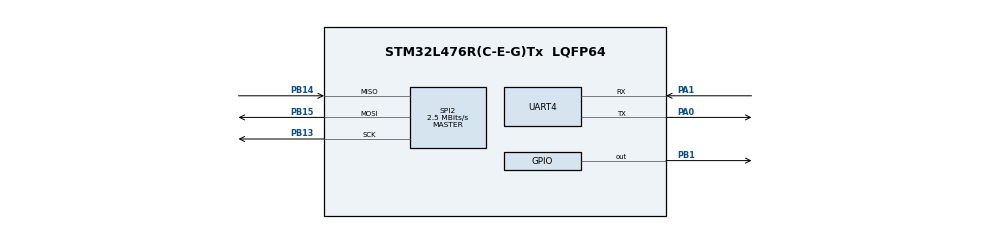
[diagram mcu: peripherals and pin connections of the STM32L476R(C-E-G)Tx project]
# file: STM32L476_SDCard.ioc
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Mcu.Family=STM32L4
Mcu.Name=STM32L476R(C-E-G)Tx
Mcu.Package=LQFP64
NVIC.PriorityGroup=NVIC_PRIORITYGROUP_4
PA0.Mode=Asynchronous
PA0.Signal=UART4_TX
PA1.Mode=Asynchronous
PA1.Signal=UART4_RX
PB1.GPIO_PuPd=GPIO_NOPULL
PB1.GPIO_Speed=GPIO_SPEED_FREQ_VERY_HIGH
PB1.PinState=GPIO_PIN_SET
PB1.Signal=GPIO_Output
PB13.GPIO_PuPd=GPIO_NOPULL
PB13.Mode=Full_Duplex_Master
PB13.Signal=SPI2_SCK
PB14.GPIO_PuPd=GPIO_NOPULL
PB14.Mode=Full_Duplex_Master
PB14.Signal=SPI2_MISO
PB15.GPIO_PuPd=GPIO_NOPULL
PB15.Mode=Full_Duplex_Master
PB15.Signal=SPI2_MOSI
PC14-OSC32_IN\ (PC14).Mode=LSE-External-Oscillator
PC14-OSC32_IN\ (PC14).Signal=RCC_OSC32_IN
PC15-OSC32_OUT\ (PC15).Mode=LSE-External-Oscillator
PC15-OSC32_OUT\ (PC15).Signal=RCC_OSC32_OUT
PH0-OSC_IN\ (PH0).Signal=RCC_OSC_IN
PH1-OSC_OUT\ (PH1).Signal=RCC_OSC_OUT
ProjectManager.HeapSize=0x200
ProjectManager.StackSize=0x400
ProjectManager.TargetToolchain=MDK-ARM V5.32
RCC.ADCFreq_Value=64000000
RCC.AHBFreq_Value=80000000
RCC.APB1Freq_Value=80000000
RCC.APB1TimFreq_Value=80000000
RCC.APB2Freq_Value=80000000
RCC.APB2TimFreq_Value=80000000
RCC.CortexFreq_Value=80000000
RCC.HCLKFreq_Value=80000000
RCC.HSE_VALUE=8000000
RCC.HSI_VALUE=16000000
RCC.MSI_VALUE=4000000
RCC.PLLN=10
RCC.PLLSourceVirtual=RCC_PLLSOURCE_HSI
RCC.PREFETCH_ENABLE=1
RCC.SYSCLKFreq_VALUE=80000000
RCC.SYSCLKSource=RCC_SYSCLKSOURCE_PLLCLK
RCC.USBFreq_Value=64000000
RCC.VCOOutputFreq_Value=160000000
SPI2.BaudRatePrescaler=SPI_BAUDRATEPRESCALER_32
SPI2.CalculateBaudRate=2.5 MBits/s
SPI2.DataSize=SPI_DATASIZE_8BIT
SPI2.Direction=SPI_DIRECTION_2LINES
SPI2.Mode=SPI_MODE_MASTER
SPI2.VirtualType=VM_MASTER
TIM2.Prescaler=79
VP_FATFS_VS_Generic.Mode=User_defined
VP_TIM2_VS_ClockSourceINT.Mode=Internal
board=NUCLEO-L476RG

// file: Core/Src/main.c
/* USER CODE BEGIN Header */
/**
  ******************************************************************************
  * @file           : main.c
  * @brief          : Main program body
  ******************************************************************************
  * @attention
  *
  * Copyright (c) 2024 STMicroelectronics.
  * All rights reserved.
  *
  * This software is licensed under terms that can be found in the LICENSE file
  * in the root directory of this software component.
  * If no LICENSE file comes with this software, it is provided AS-IS.
  *
  ******************************************************************************
  */
/* USER CODE END Header */
#include "main.h"
#include "fatfs.h"

/* USER CODE BEGIN Includes */
#include <stdbool.h>
#include <stdio.h>
#include <string.h>
#include <stdarg.h>
/* USER CODE END Includes */

/* USER CODE BEGIN PV */
//FATFS fs;
//FATFS *pfs;
//FIL fil;
//FRESULT fres;
//DWORD fre_clust;
//uint32_t totalSpace, freeSpace;
//char buffer[100];
/* USER CODE END PV */

void SystemClock_Config(void);
static void MX_GPIO_Init(void);
static void MX_SPI2_Init(void);
static void MX_UART4_Init(void);
static void MX_TIM2_Init(void);
/* USER CODE BEGIN PFP */
void myprintf(const char *fmt, ...);
void process_SD_card(void);
/* USER CODE END PFP */

int main(void)
{

  /* MCU Configuration--------------------------------------------------------*/

  /* Reset of all peripherals, Initializes the Flash interface and the Systick. */
  HAL_Init();

  /* Configure the system clock */
  SystemClock_Config();

  /* Initialize all configured peripherals */
  MX_GPIO_Init();
  MX_SPI2_Init();
  MX_UART4_Init();
  MX_FATFS_Init();
  MX_TIM2_Init();
  /* USER CODE BEGIN 2 */
	//process_SD_card();

	myprintf("\r\n~ SD card demo ~\r\n\r\n");

	delay_ms(1000); //a short delay is important to let the SD card settle

	//some variables for FatFs
  FATFS FatFs; 	//Fatfs handle
  FIL fil; 		//File handle
  FRESULT fres; //Result after operations

	//Open the file system
  fres = f_mount(&FatFs, "/", 1); //1=mount now
  if (fres != FR_OK)
	{
		myprintf("f_mount error (%i)\r\n", fres);
		while(1);
  }
	delay_ms(1);
	//Let's get some statistics from the SD card
  DWORD free_clusters, free_sectors, total_sectors;

	FATFS* getFreeFs;

	fres = f_getfree("", &free_clusters, &getFreeFs);
  if (fres != FR_OK)
	{
		myprintf("f_getfree error (%i)\r\n", fres);
		while(1);
  }

  //Formula comes from ChaN's documentation
  total_sectors = (getFreeFs->n_fatent - 2) * getFreeFs->csize;
  free_sectors = free_clusters * getFreeFs->csize;

	myprintf("SD card stats:\r\n%10lu KiB total drive space.\r\n%10lu KiB available.\r\n", total_sectors / 2, free_sectors / 2);
	delay_ms(1);
	//Now let's try and write a file "test.txt"
  fres = f_open(&fil, "test1.txt", 	FA_CREATE_ALWAYS | FA_WRITE);
  if(fres == FR_OK)
	{
		myprintf("I was able to open 'test.txt' for writing\r\n");
  }
	else
	{
		myprintf("f_open error (%i)\r\n", fres);
  }
	delay_ms(1);
	//Read 30 bytes from "test.txt" on the SD card
  BYTE readBuf[30];

  //Copy in a string
  strncpy((char*)readBuf, "a new file is made!", 19);
  UINT bytesWrote;
  fres = f_write(&fil, readBuf, 19, &bytesWrote);
	//fres = f_puts("qwerqwer\n\n", &fil);
  if(fres == FR_OK)
	{
		myprintf("Wrote %i bytes to 'test.txt'!\r\n", bytesWrote);
  }
	else
	{
		myprintf("f_write error (%i)\r\n", fres);
  }
	delay_ms(1);
	fres = f_sync(&fil);
	if (fres != FR_OK)
	{
    myprintf("f_sync error (%i)\r\n", fres);
		while(1);
	}
	delay_ms(1);
  //Be a tidy kiwi - don't forget to close your file!
  fres = f_close(&fil);
	if (fres != FR_OK)
	{
    myprintf("f_close error (%i)\r\n", fres);
		while(1);
	}
	/*
	fres = f_mount(NULL, "", 0);
	if (fres != FR_OK)
	{
    myprintf("f_mount error: %d\n", fres);
	}
	*/
	delay_ms(100);

	fres = f_mount(&FatFs, "/", 1);
	if (fres != FR_OK)
	{
    myprintf("f_mount error: %d\n", fres);
	}
	delay_ms(1);

	//Now let's try to open file "test.txt"
  fres = f_open(&fil, "test1.txt", FA_READ);
  if (fres != FR_OK)
	{
		myprintf("f_open error (%i)\r\n", fres);
		while(1);
  }
  myprintf("I was able to open 'write.txt' for reading!\r\n");
	delay_ms(1);
  //We can either use f_read OR f_gets to get data out of files
  //f_gets is a wrapper on f_read that does some string formatting for us
  TCHAR* rres = f_gets((TCHAR*)readBuf, 30, &fil);
  if(rres != 0)
	{
		myprintf("Read string from 'write.txt' contents: %s\r\n", readBuf);
  }
	else
	{
		myprintf("f_gets error (%i)\r\n", rres);
  }
	delay_ms(1);
	fres = f_sync(&fil);
	if (fres != FR_OK)
	{
    myprintf("f_sync error (%i)\r\n", fres);
		while(1);
	}
	delay_ms(1);
  //Be a tidy kiwi - don't forget to close your file!
  fres = f_close(&fil);
	if (fres != FR_OK)
	{
    myprintf("f_close error (%i)\r\n", fres);
		while(1);
	}
	delay_ms(1);
  //We're done, so de-mount the drive
  fres = f_mount(NULL, "/", 0);
	if (fres != FR_OK)
	{
    myprintf("unmount with f_mount error (%i)\r\n", fres);
		while(1);
	}

  /* USER CODE END 2 */

  /* Infinite loop */
  while (1)
  {

  }
}

void SystemClock_Config(void)
{
  LL_FLASH_SetLatency(LL_FLASH_LATENCY_4);
  while(LL_FLASH_GetLatency()!= LL_FLASH_LATENCY_4)
  {
  }
  LL_PWR_SetRegulVoltageScaling(LL_PWR_REGU_VOLTAGE_SCALE1);
  while (LL_PWR_IsActiveFlag_VOS() != 0)
  {
  }
  LL_RCC_HSI_Enable();

   /* Wait till HSI is ready */
  while(LL_RCC_HSI_IsReady() != 1)
  {

  }
  LL_RCC_HSI_SetCalibTrimming(16);
  LL_RCC_PLL_ConfigDomain_SYS(LL_RCC_PLLSOURCE_HSI, LL_RCC_PLLM_DIV_1, 10, LL_RCC_PLLR_DIV_2);
  LL_RCC_PLL_EnableDomain_SYS();
  LL_RCC_PLL_Enable();

   /* Wait till PLL is ready */
  while(LL_RCC_PLL_IsReady() != 1)
  {

  }
  LL_RCC_SetSysClkSource(LL_RCC_SYS_CLKSOURCE_PLL);

   /* Wait till System clock is ready */
  while(LL_RCC_GetSysClkSource() != LL_RCC_SYS_CLKSOURCE_STATUS_PLL)
  {

  }
  LL_RCC_SetAHBPrescaler(LL_RCC_SYSCLK_DIV_1);
  LL_RCC_SetAPB1Prescaler(LL_RCC_APB1_DIV_1);
  LL_RCC_SetAPB2Prescaler(LL_RCC_APB2_DIV_1);
  LL_SetSystemCoreClock(80000000);

   /* Update the time base */
  if (HAL_InitTick (TICK_INT_PRIORITY) != HAL_OK)
  {
    Error_Handler();
  }
}

static void MX_SPI2_Init(void)
{

  LL_SPI_InitTypeDef SPI_InitStruct = {0};

  LL_GPIO_InitTypeDef GPIO_InitStruct = {0};

  /* Peripheral clock enable */
  LL_APB1_GRP1_EnableClock(LL_APB1_GRP1_PERIPH_SPI2);

  LL_AHB2_GRP1_EnableClock(LL_AHB2_GRP1_PERIPH_GPIOB);
  /**SPI2 GPIO Configuration
  PB13   ------> SPI2_SCK
  PB14   ------> SPI2_MISO
  PB15   ------> SPI2_MOSI
  */
  GPIO_InitStruct.Pin = LL_GPIO_PIN_13|LL_GPIO_PIN_14|LL_GPIO_PIN_15;
  GPIO_InitStruct.Mode = LL_GPIO_MODE_ALTERNATE;
  GPIO_InitStruct.Speed = LL_GPIO_SPEED_FREQ_VERY_HIGH;
  GPIO_InitStruct.OutputType = LL_GPIO_OUTPUT_PUSHPULL;
  GPIO_InitStruct.Pull = LL_GPIO_PULL_NO;
  GPIO_InitStruct.Alternate = LL_GPIO_AF_5;
  LL_GPIO_Init(GPIOB, &GPIO_InitStruct);

  /* SPI2 parameter configuration*/
  SPI_InitStruct.TransferDirection = LL_SPI_FULL_DUPLEX;
  SPI_InitStruct.Mode = LL_SPI_MODE_MASTER;
  SPI_InitStruct.DataWidth = LL_SPI_DATAWIDTH_8BIT;
  SPI_InitStruct.ClockPolarity = LL_SPI_POLARITY_LOW;
  SPI_InitStruct.ClockPhase = LL_SPI_PHASE_1EDGE;
  SPI_InitStruct.NSS = LL_SPI_NSS_SOFT;
  SPI_InitStruct.BaudRate = LL_SPI_BAUDRATEPRESCALER_DIV16;
  SPI_InitStruct.BitOrder = LL_SPI_MSB_FIRST;
  SPI_InitStruct.CRCCalculation = LL_SPI_CRCCALCULATION_DISABLE;
  SPI_InitStruct.CRCPoly = 10;
  LL_SPI_Init(SPI2, &SPI_InitStruct);
  LL_SPI_SetStandard(SPI2, LL_SPI_PROTOCOL_MOTOROLA);
  LL_SPI_EnableNSSPulseMgt(SPI2);
  /* USER CODE BEGIN SPI2_Init 2 */
	LL_SPI_Enable(SPI2);
  /* USER CODE END SPI2_Init 2 */

}

static void MX_TIM2_Init(void)
{

  LL_TIM_InitTypeDef TIM_InitStruct = {0};

  /* Peripheral clock enable */
  LL_APB1_GRP1_EnableClock(LL_APB1_GRP1_PERIPH_TIM2);

  TIM_InitStruct.Prescaler = 79;
  TIM_InitStruct.CounterMode = LL_TIM_COUNTERMODE_UP;
  TIM_InitStruct.Autoreload = 4294967295;
  TIM_InitStruct.ClockDivision = LL_TIM_CLOCKDIVISION_DIV1;
  LL_TIM_Init(TIM2, &TIM_InitStruct);
  LL_TIM_DisableARRPreload(TIM2);
  LL_TIM_SetClockSource(TIM2, LL_TIM_CLOCKSOURCE_INTERNAL);
  LL_TIM_SetTriggerOutput(TIM2, LL_TIM_TRGO_RESET);
  LL_TIM_DisableMasterSlaveMode(TIM2);
  /* USER CODE BEGIN TIM2_Init 2 */
	LL_TIM_EnableCounter(TIM2);
  /* USER CODE END TIM2_Init 2 */

}

static void MX_UART4_Init(void)
{

  LL_USART_InitTypeDef UART_InitStruct = {0};

  LL_GPIO_InitTypeDef GPIO_InitStruct = {0};

  LL_RCC_SetUARTClockSource(LL_RCC_UART4_CLKSOURCE_PCLK1);

  /* Peripheral clock enable */
  LL_APB1_GRP1_EnableClock(LL_APB1_GRP1_PERIPH_UART4);

  LL_AHB2_GRP1_EnableClock(LL_AHB2_GRP1_PERIPH_GPIOA);
  /**UART4 GPIO Configuration
  PA0   ------> UART4_TX
  PA1   ------> UART4_RX
  */
  GPIO_InitStruct.Pin = LL_GPIO_PIN_0|LL_GPIO_PIN_1;
  GPIO_InitStruct.Mode = LL_GPIO_MODE_ALTERNATE;
  GPIO_InitStruct.Speed = LL_GPIO_SPEED_FREQ_VERY_HIGH;
  GPIO_InitStruct.OutputType = LL_GPIO_OUTPUT_PUSHPULL;
  GPIO_InitStruct.Pull = LL_GPIO_PULL_NO;
  GPIO_InitStruct.Alternate = LL_GPIO_AF_8;
  LL_GPIO_Init(GPIOA, &GPIO_InitStruct);

  UART_InitStruct.BaudRate = 115200;
  UART_InitStruct.DataWidth = LL_USART_DATAWIDTH_8B;
  UART_InitStruct.StopBits = LL_USART_STOPBITS_1;
  UART_InitStruct.Parity = LL_USART_PARITY_NONE;
  UART_InitStruct.TransferDirection = LL_USART_DIRECTION_TX_RX;
  UART_InitStruct.HardwareFlowControl = LL_USART_HWCONTROL_NONE;
  UART_InitStruct.OverSampling = LL_USART_OVERSAMPLING_16;
  LL_USART_Init(UART4, &UART_InitStruct);
  LL_USART_ConfigAsyncMode(UART4);
  LL_USART_Enable(UART4);

}

static void MX_GPIO_Init(void)
{
  LL_GPIO_InitTypeDef GPIO_InitStruct = {0};

  /* GPIO Ports Clock Enable */
  LL_AHB2_GRP1_EnableClock(LL_AHB2_GRP1_PERIPH_GPIOC);
  LL_AHB2_GRP1_EnableClock(LL_AHB2_GRP1_PERIPH_GPIOH);
  LL_AHB2_GRP1_EnableClock(LL_AHB2_GRP1_PERIPH_GPIOA);
  LL_AHB2_GRP1_EnableClock(LL_AHB2_GRP1_PERIPH_GPIOB);

  /**/
  LL_GPIO_SetOutputPin(GPIOB, LL_GPIO_PIN_1);

  /**/
  GPIO_InitStruct.Pin = LL_GPIO_PIN_1;
  GPIO_InitStruct.Mode = LL_GPIO_MODE_OUTPUT;
  GPIO_InitStruct.Speed = LL_GPIO_SPEED_FREQ_VERY_HIGH;
  GPIO_InitStruct.OutputType = LL_GPIO_OUTPUT_PUSHPULL;
  GPIO_InitStruct.Pull = LL_GPIO_PULL_NO;
  LL_GPIO_Init(GPIOB, &GPIO_InitStruct);

}

/* USER CODE BEGIN 4 */
void delay_ms(uint32_t timeDelay)
{
    uint32_t startTick = LL_TIM_GetCounter(TIM2);

    while ((LL_TIM_GetCounter(TIM2) - startTick) < (timeDelay * 1000));
}

/* Gui 1 byte du lieu tu Master cho Slave */
void SPI2_TransmitByte(uint8_t data)
{
    // Doi cho den khi TX buffer trong (TXE flag duoc set)
    while (!LL_SPI_IsActiveFlag_TXE(SPI2));

    // Gui 1 byte du lieu
    LL_SPI_TransmitData8(SPI2, data);

    // Doi cho den khi byte duoc truyen xong (BSY flag duoc reset)
    while (LL_SPI_IsActiveFlag_BSY(SPI2));
}

uint8_t SPI2_ReceiveByte(void)
{
    uint8_t receivedDataTemp = 0x00u;

		//LL_GPIO_ResetOutputPin(GPIOA, LL_GPIO_PIN_4);
    // Doi cho den khi co du lieu nhan duoc (RXNE flag duoc set)
    while (!LL_SPI_IsActiveFlag_RXNE(SPI2));

    // Doc du lieu nhan duoc tu SPI
    receivedDataTemp = LL_SPI_ReceiveData8(SPI2);

		while (LL_SPI_IsActiveFlag_BSY(SPI2));
		//LL_GPIO_SetOutputPin(GPIOA, LL_GPIO_PIN_4);
		return receivedDataTemp;
}

uint8_t LL_SPI_TransmitReceive(SPI_TypeDef *SPIx, uint8_t *pTxData, uint8_t *pRxData, uint16_t Size, uint32_t Timeout)
{
    uint32_t tickstart;

    //LL_GPIO_ResetOutputPin(GPIOB, LL_GPIO_PIN_1); // H? CS xu?ng

    for (uint16_t i = 0; i < Size; i++)
    {
        tickstart = LL_TIM_GetCounter(TIM2); // L?y th?i gian hi?n t?i

        // Ch? TXE (TX buffer empty)
        while (!LL_SPI_IsActiveFlag_TXE(SPIx))
        {
            if ((LL_TIM_GetCounter(TIM2) - tickstart) > Timeout)
                return 1; // Timeout
        }

        // G?i d? li?u
        LL_SPI_TransmitData8(SPIx, pTxData[i]);

				tickstart = LL_TIM_GetCounter(TIM2); // L?y l?i th?i gian hi?n t?i

				// Ch? SPI kh?ng b?n (Busy flag)
				while (LL_SPI_IsActiveFlag_BSY(SPIx))
				{
						if ((LL_TIM_GetCounter(TIM2) - tickstart) > Timeout)
								return 1; // Timeout
				}

        tickstart = LL_TIM_GetCounter(TIM2); // L?y l?i th?i gian hi?n t?i

        // Ch? RXNE (RX buffer not empty)
        while (!LL_SPI_IsActiveFlag_RXNE(SPIx))
        {
            if ((LL_TIM_GetCounter(TIM2) - tickstart) > Timeout)
                return 1; // Timeout
        }

        // ??c d? li?u nh?n du?c
        pRxData[i] = LL_SPI_ReceiveData8(SPIx);
    }

    tickstart = LL_TIM_GetCounter(TIM2); // L?y l?i th?i gian hi?n t?i

    // Ch? SPI kh?ng b?n (Busy flag)
    while (LL_SPI_IsActiveFlag_BSY(SPIx))
    {
        if ((LL_TIM_GetCounter(TIM2) - tickstart) > Timeout)
            return 1; // Timeout
    }

    //LL_GPIO_SetOutputPin(GPIOB, LL_GPIO_PIN_1); // N?ng CS l?n

    return 0; // Th?nh c?ng
}

// Send 1 byte through UART
void UART_SendChar(uint8_t ch)
{
    while (!LL_USART_IsActiveFlag_TXE(UART4));
    LL_USART_TransmitData8(UART4, ch);
    while (!LL_USART_IsActiveFlag_TC(UART4));
}

// Receive 1 byte from UART
uint8_t UART_ReceiveChar(void)
{
    while (!LL_USART_IsActiveFlag_RXNE(UART4));
    return LL_USART_ReceiveData8(UART4);
}

// Send a string through UART
void UART_SendString(char *str)
{
    while (*str) {
        UART_SendChar(*str++);
    }
}

// Receive a string from UART (stop when see character '\n')
void UART_ReceiveString(char *buffer, uint8_t maxLength)
{
    uint8_t index = 0;
    char receivedChar;

    do {
        receivedChar = UART_ReceiveChar();
        buffer[index++] = receivedChar;
    } while (receivedChar != '\n' && index < maxLength - 1);

    buffer[index] = '\0';
}

void myprintf(const char *fmt, ...)
{
  static char buffer[256];
  va_list args;
  va_start(args, fmt);
  vsnprintf(buffer, sizeof(buffer), fmt, args);
  va_end(args);

  int len = strlen(buffer);
  //HAL_UART_Transmit(&huart2, (uint8_t*)buffer, len, -1);
	UART_SendString((char *)buffer);

}

void process_SD_card( void )
{
  FATFS       FatFs;                //Fatfs handle
  FIL         fil;                  //File handle
  FRESULT     fres;                 //Result after operations
  char        buf[100];

  do
  {
    //Mount the SD Card
    fres = f_mount(&FatFs, "", 1);    //1=mount now
    if (fres != FR_OK)
    {
      myprintf("No SD Card found : (%i)\r\n", fres);
      break;
    }
    myprintf("SD Card Mounted Successfully!!!\r\n");

    //Read the SD Card Total size and Free Size
    FATFS *pfs;
    DWORD fre_clust;
    uint32_t totalSpace, freeSpace;

    f_getfree("", &fre_clust, &pfs);
    totalSpace = (uint32_t)((pfs->n_fatent - 2) * pfs->csize * 0.5);
    freeSpace = (uint32_t)(fre_clust * pfs->csize * 0.5);

    myprintf("TotalSpace : %lu bytes, FreeSpace = %lu bytes\n", totalSpace, freeSpace);

    //Open the file
    fres = f_open(&fil, "test.txt", FA_WRITE | FA_READ | FA_CREATE_ALWAYS);
    if(fres != FR_OK)
    {
      myprintf("File creation/open Error : (%i)\r\n", fres);
      break;
    }

    myprintf("Writing data!!!\r\n");
    //write the data
    f_puts("Welcome to EmbeTronicX", &fil);

    //close your file
    f_close(&fil);

    //Open the file
    fres = f_open(&fil, "test1.txt", FA_READ);
    if(fres != FR_OK)
    {
      myprintf("File opening Error : (%i)\r\n", fres);
      break;
    }

    //read the data
    f_gets(buf, sizeof(buf), &fil);

    myprintf("Read Data : %s\n", buf);

    //close your file
    f_close(&fil);
    myprintf("Closing File!!!\r\n");
#if 0
    //Delete the file.
    fres = f_unlink(EmbeTronicX.txt);
    if (fres != FR_OK)
    {
      myprintf("Cannot able to delete the file\n");
    }
#endif
  } while( false );

  //We're done, so de-mount the drive
  f_mount(NULL, "", 0);
  myprintf("SD Card Unmounted Successfully!!!\r\n");
}

/**
 * @brief  This function is executed in case of error occurrence.
 * @param  file: The file name as string.
 * @param  line: The line in file as a number.
 * @retval None
 */
void _Error_Handler(char *file, int line)
{
	/* USER CODE BEGIN Error_Handler_Debug */
	/* User can add his own implementation to report the HAL error return state */
	while(1)
	{
	}
	/* USER CODE END Error_Handler_Debug */
}
/* USER CODE END 4 */

//void Error_Handler(void)
//{
  /* USER CODE BEGIN Error_Handler_Debug */
  /* User can add his own implementation to report the HAL error return state */
//  __disable_irq();
 // while (1)
 // {
  //}
  /* USER CODE END Error_Handler_Debug */
//}
